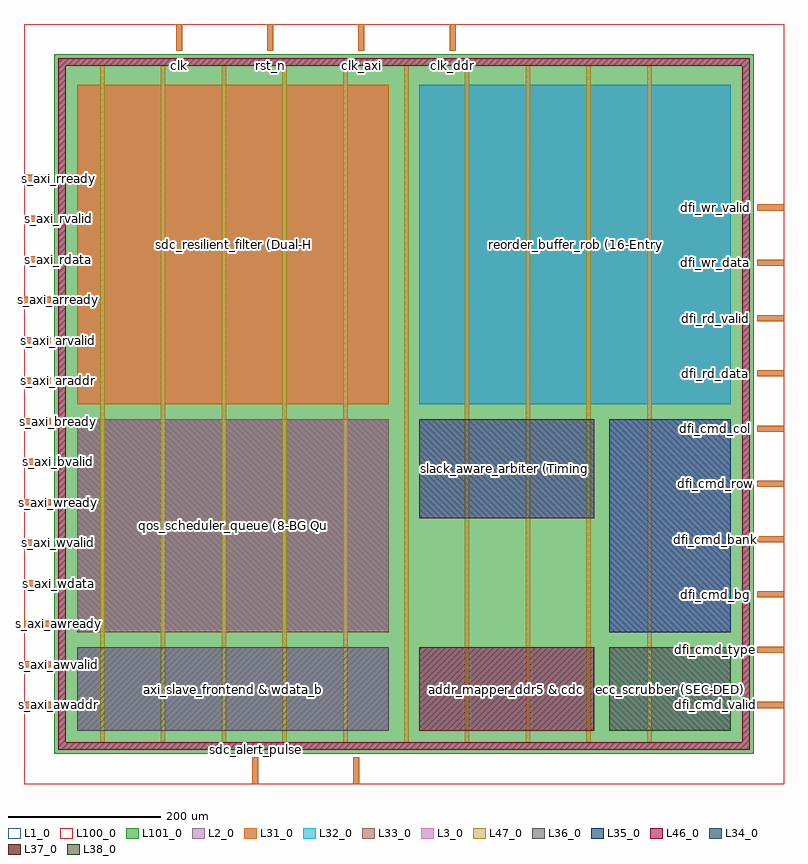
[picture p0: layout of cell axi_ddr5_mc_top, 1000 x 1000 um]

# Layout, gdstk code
import gdstk
lib = gdstk.Library(unit=1e-6, precision=1e-09)
def R(c, l, rs):  # rectangles x0, y0, x1, y1
    for r in rs: c.add(gdstk.rectangle(r[:2], r[2:], *l))
def A(c, l, x, y, w, h, nx, ny, dx, dy):  # array of equal rectangles
    R(c, l, [(x+i*dx, y+j*dy, x+i*dx+w, y+j*dy+h) for i in range(nx) for j in range(ny)])
L1_0 = (1, 0)
L2_0 = (2, 0)
L3_0 = (3, 0)
L31_0 = (31, 0)
L32_0 = (32, 0)
L33_0 = (33, 0)
L34_0 = (34, 0)
L35_0 = (35, 0)
L36_0 = (36, 0)
L37_0 = (37, 0)
L38_0 = (38, 0)
L46_0 = (46, 0)
L47_0 = (47, 0)
L100_0 = (100, 0)
L101_0 = (101, 0)

axi_ddr5_mc_top = lib.new_cell('axi_ddr5_mc_top')
R(axi_ddr5_mc_top, L1_0, [(0,0,1000,1000), (40,40,960,960)])
A(axi_ddr5_mc_top, L2_0, 0, 100, 35, 8, 1, 14, 0, 53.333)
A(axi_ddr5_mc_top, L2_0, 965, 100, 35, 8, 1, 10, 0, 72.727)
A(axi_ddr5_mc_top, L2_0, 200, 965, 8, 35, 4, 1, 120, 0)
R(axi_ddr5_mc_top, L2_0, [(300,0,308,35), (433.333,0,441.333,35), (70,70,480,180), (520,70,750,180), (770,70,930,180), (70,200,480,480), (770,200,930,480), (520,350,750,480), (70,500,480,920), (520,500,930,920)])
A(axi_ddr5_mc_top, L3_0, 100, 55, 6, 890, 10, 1, 80, 0)
R(axi_ddr5_mc_top, L3_0, [(45,45,955,55), (45,45,55,955), (945,45,955,955), (45,945,955,955)])
A(axi_ddr5_mc_top, L31_0, 0, 100, 35, 8, 1, 14, 0, 53.333)
A(axi_ddr5_mc_top, L31_0, 965, 100, 35, 8, 1, 10, 0, 72.727)
A(axi_ddr5_mc_top, L31_0, 200, 965, 8, 35, 4, 1, 120, 0)
R(axi_ddr5_mc_top, L31_0, [(300,0,308,35), (433.333,0,441.333,35), (70,500,480,920)])
R(axi_ddr5_mc_top, L32_0, [(520,500,930,920)])
R(axi_ddr5_mc_top, L33_0, [(70,200,480,480)])
R(axi_ddr5_mc_top, L34_0, [(520,350,750,480)])
R(axi_ddr5_mc_top, L35_0, [(770,200,930,480)])
R(axi_ddr5_mc_top, L36_0, [(70,70,480,180)])
R(axi_ddr5_mc_top, L37_0, [(520,70,750,180)])
R(axi_ddr5_mc_top, L38_0, [(770,70,930,180)])
R(axi_ddr5_mc_top, L46_0, [(45,45,955,55), (45,45,55,955), (945,45,955,955), (45,945,955,955)])
A(axi_ddr5_mc_top, L47_0, 100, 55, 6, 890, 10, 1, 80, 0)
R(axi_ddr5_mc_top, L100_0, [(0,0,1000,1000)])
R(axi_ddr5_mc_top, L101_0, [(40,40,960,960)])
axi_ddr5_mc_top.add(gdstk.Label('sdc_resilient_filter (Dual-Hash)', (275,710), layer=31, texttype=0))
axi_ddr5_mc_top.add(gdstk.Label('s_axi_awaddr', (45,104), layer=31, texttype=0))
axi_ddr5_mc_top.add(gdstk.Label('s_axi_awvalid', (45,157.333), layer=31, texttype=0))
axi_ddr5_mc_top.add(gdstk.Label('s_axi_awready', (45,210.666), layer=31, texttype=0))
axi_ddr5_mc_top.add(gdstk.Label('s_axi_wdata', (45,263.999), layer=31, texttype=0))
axi_ddr5_mc_top.add(gdstk.Label('s_axi_wvalid', (45,317.332), layer=31, texttype=0))
axi_ddr5_mc_top.add(gdstk.Label('s_axi_wready', (45,370.665), layer=31, texttype=0))
axi_ddr5_mc_top.add(gdstk.Label('s_axi_bvalid', (45,423.998), layer=31, texttype=0))
axi_ddr5_mc_top.add(gdstk.Label('s_axi_bready', (45,477.331), layer=31, texttype=0))
axi_ddr5_mc_top.add(gdstk.Label('s_axi_araddr', (45,530.664), layer=31, texttype=0))
axi_ddr5_mc_top.add(gdstk.Label('s_axi_arvalid', (45,583.997), layer=31, texttype=0))
axi_ddr5_mc_top.add(gdstk.Label('s_axi_arready', (45,637.33), layer=31, texttype=0))
axi_ddr5_mc_top.add(gdstk.Label('s_axi_rdata', (45,690.663), layer=31, texttype=0))
axi_ddr5_mc_top.add(gdstk.Label('s_axi_rvalid', (45,743.996), layer=31, texttype=0))
axi_ddr5_mc_top.add(gdstk.Label('s_axi_rready', (45,797.329), layer=31, texttype=0))
axi_ddr5_mc_top.add(gdstk.Label('dfi_cmd_valid', (910,104), layer=31, texttype=0))
axi_ddr5_mc_top.add(gdstk.Label('dfi_cmd_type', (910,176.727), layer=31, texttype=0))
axi_ddr5_mc_top.add(gdstk.Label('dfi_cmd_bg', (910,249.454), layer=31, texttype=0))
axi_ddr5_mc_top.add(gdstk.Label('dfi_cmd_bank', (910,322.181), layer=31, texttype=0))
axi_ddr5_mc_top.add(gdstk.Label('dfi_cmd_row', (910,394.908), layer=31, texttype=0))
axi_ddr5_mc_top.add(gdstk.Label('dfi_cmd_col', (910,467.635), layer=31, texttype=0))
axi_ddr5_mc_top.add(gdstk.Label('dfi_rd_data', (910,540.362), layer=31, texttype=0))
axi_ddr5_mc_top.add(gdstk.Label('dfi_rd_valid', (910,613.089), layer=31, texttype=0))
axi_ddr5_mc_top.add(gdstk.Label('dfi_wr_data', (910,685.816), layer=31, texttype=0))
axi_ddr5_mc_top.add(gdstk.Label('dfi_wr_valid', (910,758.543), layer=31, texttype=0))
axi_ddr5_mc_top.add(gdstk.Label('clk', (204,945), layer=31, texttype=0))
axi_ddr5_mc_top.add(gdstk.Label('rst_n', (324,945), layer=31, texttype=0))
axi_ddr5_mc_top.add(gdstk.Label('clk_axi', (444,945), layer=31, texttype=0))
axi_ddr5_mc_top.add(gdstk.Label('clk_ddr', (564,945), layer=31, texttype=0))
axi_ddr5_mc_top.add(gdstk.Label('sdc_alert_pulse', (304,45), layer=31, texttype=0))
axi_ddr5_mc_top.add(gdstk.Label('sdc_total_throttled', (437.333,45), layer=31, texttype=0))
axi_ddr5_mc_top.add(gdstk.Label('reorder_buffer_rob (16-Entry ROB)', (725,710), layer=32, texttype=0))
axi_ddr5_mc_top.add(gdstk.Label('qos_scheduler_queue (8-BG Queue)', (275,340), layer=33, texttype=0))
axi_ddr5_mc_top.add(gdstk.Label('slack_aware_arbiter (Timing Slack)', (635,415), layer=34, texttype=0))
axi_ddr5_mc_top.add(gdstk.Label('ddr5_cmd_engine (JEDEC FSM)', (850,340), layer=35, texttype=0))
axi_ddr5_mc_top.add(gdstk.Label('axi_slave_frontend & wdata_buf', (275,125), layer=36, texttype=0))
axi_ddr5_mc_top.add(gdstk.Label('addr_mapper_ddr5 & cdc', (635,125), layer=37, texttype=0))
axi_ddr5_mc_top.add(gdstk.Label('ecc_scrubber (SEC-DED)', (850,125), layer=38, texttype=0))

lib.write_gds('axi_ddr5_mc_top.gds')
